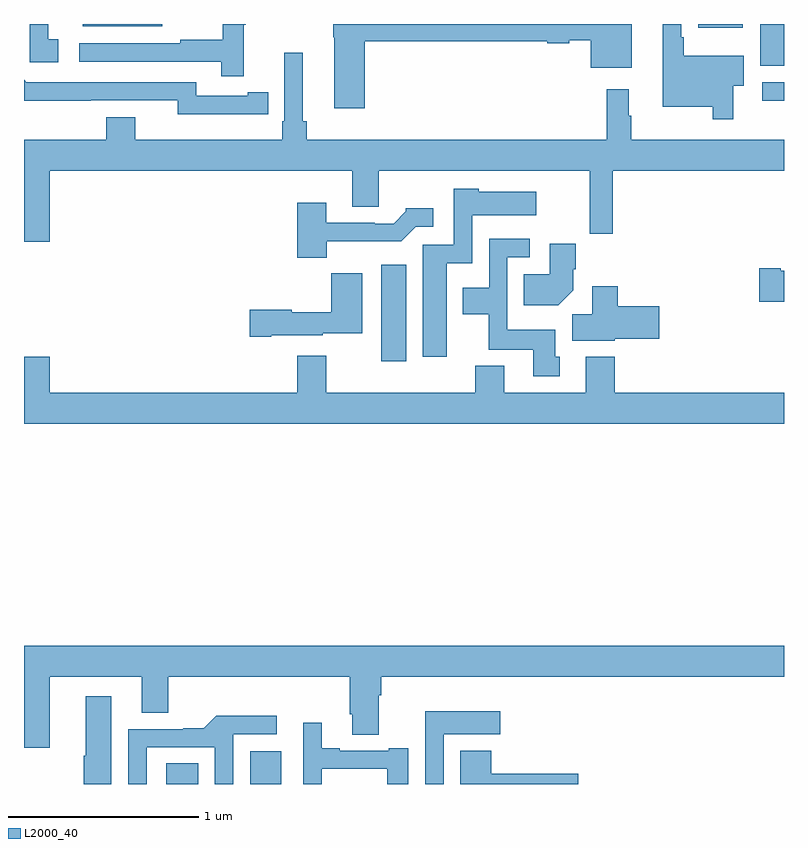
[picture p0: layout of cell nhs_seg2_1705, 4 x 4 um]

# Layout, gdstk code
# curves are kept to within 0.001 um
import gdstk
lib = gdstk.Library(unit=1e-6, precision=1e-09)
def R(c, l, rs):  # rectangles x0, y0, x1, y1
    for r in rs: c.add(gdstk.rectangle(r[:2], r[2:], *l))
def P(c, l, *ps):  # polygons
    for p in ps: c.add(gdstk.Polygon(p, *l))
L2000_40 = (2000, 40)

nhs_seg2_1705 = lib.new_cell('nhs_seg2_1705')
R(nhs_seg2_1705, L2000_40, [(201.749,585.8,201.916,585.908), (202.19,585.8,202.354,585.973), (202.88,588.024,203.011,588.532), (204.885,589.397,205,589.494), (204.875,589.579,205,589.8), (204.548,589.781,204.784,589.8), (201.308,589.787,201.727,589.8)])
P(nhs_seg2_1705, L2000_40, [(202.157,589.795),(202.168,589.795),(202.168,589.8),(202.047,589.8),(202.047,589.718),(201.823,589.718),(201.823,589.698),(201.291,589.698),(201.291,589.602),(202.039,589.602),(202.039,589.524),(202.157,589.524)],
  [(201.181,589.719),(201.128,589.719),(201.128,589.8),(201.03,589.8),(201.03,589.599),(201.181,589.599)],
  [(204.733,589.475),(204.787,589.475),(204.787,589.633),(204.472,589.633),(204.472,589.729),(204.459,589.729),(204.459,589.8),(204.362,589.8),(204.362,589.364),(204.624,589.364),(204.624,589.299),(204.733,589.299)],
  [(202.793,589.708),(203.754,589.708),(203.754,589.7),(203.871,589.7),(203.871,589.715),(203.984,589.715),(203.984,589.571),(204.199,589.571),(204.199,589.8),(202.627,589.8),(202.627,589.731),(202.634,589.731),(202.634,589.356),(202.793,589.356)],
  [(201.136,589.028),(202.727,589.028),(202.727,588.838),(202.867,588.838),(202.867,589.028),(203.977,589.028),(203.977,588.696),(204.098,588.696),(204.098,589.028),(205,589.028),(205,589.192),(204.196,589.192),(204.196,589.316),(204.184,589.316),(204.184,589.456),(204.067,589.456),(204.067,589.192),(202.487,589.192),(202.487,589.288),(202.468,589.288),(202.468,589.648),(202.371,589.648),(202.371,589.288),(202.358,589.288),(202.358,589.192),(201.586,589.192),(201.586,589.309),(201.434,589.309),(201.434,589.192),(201,589.192),(201,588.654),(201.136,588.654)],
  [(202.178,589.326),(202.286,589.326),(202.286,589.442),(202.178,589.442),(202.178,589.422),(201.906,589.422),(201.906,589.494),(201.012,589.494),(201,589.506),(201,589.397),(201.81,589.398),(201.81,589.325)],
  [(203.224,588.542),(203.358,588.542),(203.358,588.794),(203.695,588.794),(203.695,588.916),(203.394,588.916),(203.394,588.934),(203.262,588.934),(203.262,588.639),(203.099,588.639),(203.099,588.048),(203.224,588.048)],
  [(202.594,588.656),(202.985,588.656),(203.061,588.732),(203.155,588.732),(203.155,588.829),(203.01,588.829),(203.01,588.814),(202.946,588.75),(202.847,588.75),(202.847,588.753),(202.591,588.753),(202.591,588.859),(202.439,588.859),(202.439,588.569),(202.594,588.569)],
  [(203.821,588.048),(203.797,588.048),(203.797,588.19),(203.544,588.19),(203.544,588.573),(203.662,588.573),(203.662,588.669),(203.448,588.669),(203.448,588.412),(203.309,588.412),(203.309,588.272),(203.446,588.272),(203.446,588.086),(203.681,588.086),(203.681,587.946),(203.821,587.946)],
  [(203.89,588.398),(203.89,588.508),(203.903,588.508),(203.903,588.643),(203.768,588.643),(203.768,588.484),(203.629,588.484),(203.629,588.32),(203.812,588.32)],
  [(205,588.502),(204.982,588.502),(204.982,588.515),(204.87,588.515),(204.87,588.337),(205,588.337)],
  [(202.3,588.161),(202.572,588.161),(202.572,588.173),(202.78,588.173),(202.78,588.487),(202.618,588.487),(202.618,588.283),(202.41,588.283),(202.41,588.296),(202.188,588.296),(202.188,588.154),(202.3,588.154)],
  [(204.108,588.143),(204.343,588.143),(204.343,588.314),(204.125,588.314),(204.125,588.421),(203.99,588.421),(203.99,588.272),(203.885,588.272),(203.885,588.134),(204.108,588.134)],
  [(205,587.86),(204.11,587.86),(204.11,588.049),(203.957,588.049),(203.957,587.86),(203.527,587.86),(203.527,588.001),(203.375,588.001),(203.375,587.86),(202.591,587.86),(202.591,588.055),(202.439,588.055),(202.439,587.86),(201.136,587.86),(201.136,588.049),(201,588.049),(201,587.696),(205,587.696)],
  [(201.136,586.364),(201.62,586.364),(201.62,586.174),(201.76,586.174),(201.76,586.364),(202.715,586.364),(202.715,586.168),(202.727,586.168),(202.727,586.06),(202.867,586.06),(202.867,586.268),(202.88,586.268),(202.88,586.364),(205,586.364),(205,586.528),(201,586.528),(201,585.99),(201.136,585.99)],
  [(201.46,586.261),(201.326,586.261),(201.326,585.948),(201.314,585.948),(201.314,585.8),(201.46,585.8)],
  [(203.208,586.061),(203.506,586.061),(203.506,586.183),(203.112,586.183),(203.112,585.8),(203.208,585.8)],
  [(201.645,585.993),(202.005,585.993),(202.005,585.8),(202.101,585.8),(202.101,586.062),(202.33,586.062),(202.33,586.16),(202.013,586.16),(201.947,586.094),(201.839,586.094),(201.839,586.089),(201.549,586.089),(201.549,585.8),(201.645,585.8)],
  [(202.566,585.879),(202.913,585.879),(202.913,585.8),(203.023,585.8),(203.023,585.988),(202.919,585.988),(202.919,585.975),(202.663,585.975),(202.663,585.988),(202.567,585.988),(202.567,586.123),(202.47,586.123),(202.47,585.8),(202.566,585.8)],
  [(203.917,585.854),(203.459,585.854),(203.459,585.976),(203.297,585.976),(203.297,585.8),(203.917,585.8)])

lib.write_gds('nhs_seg2_1705.gds')
